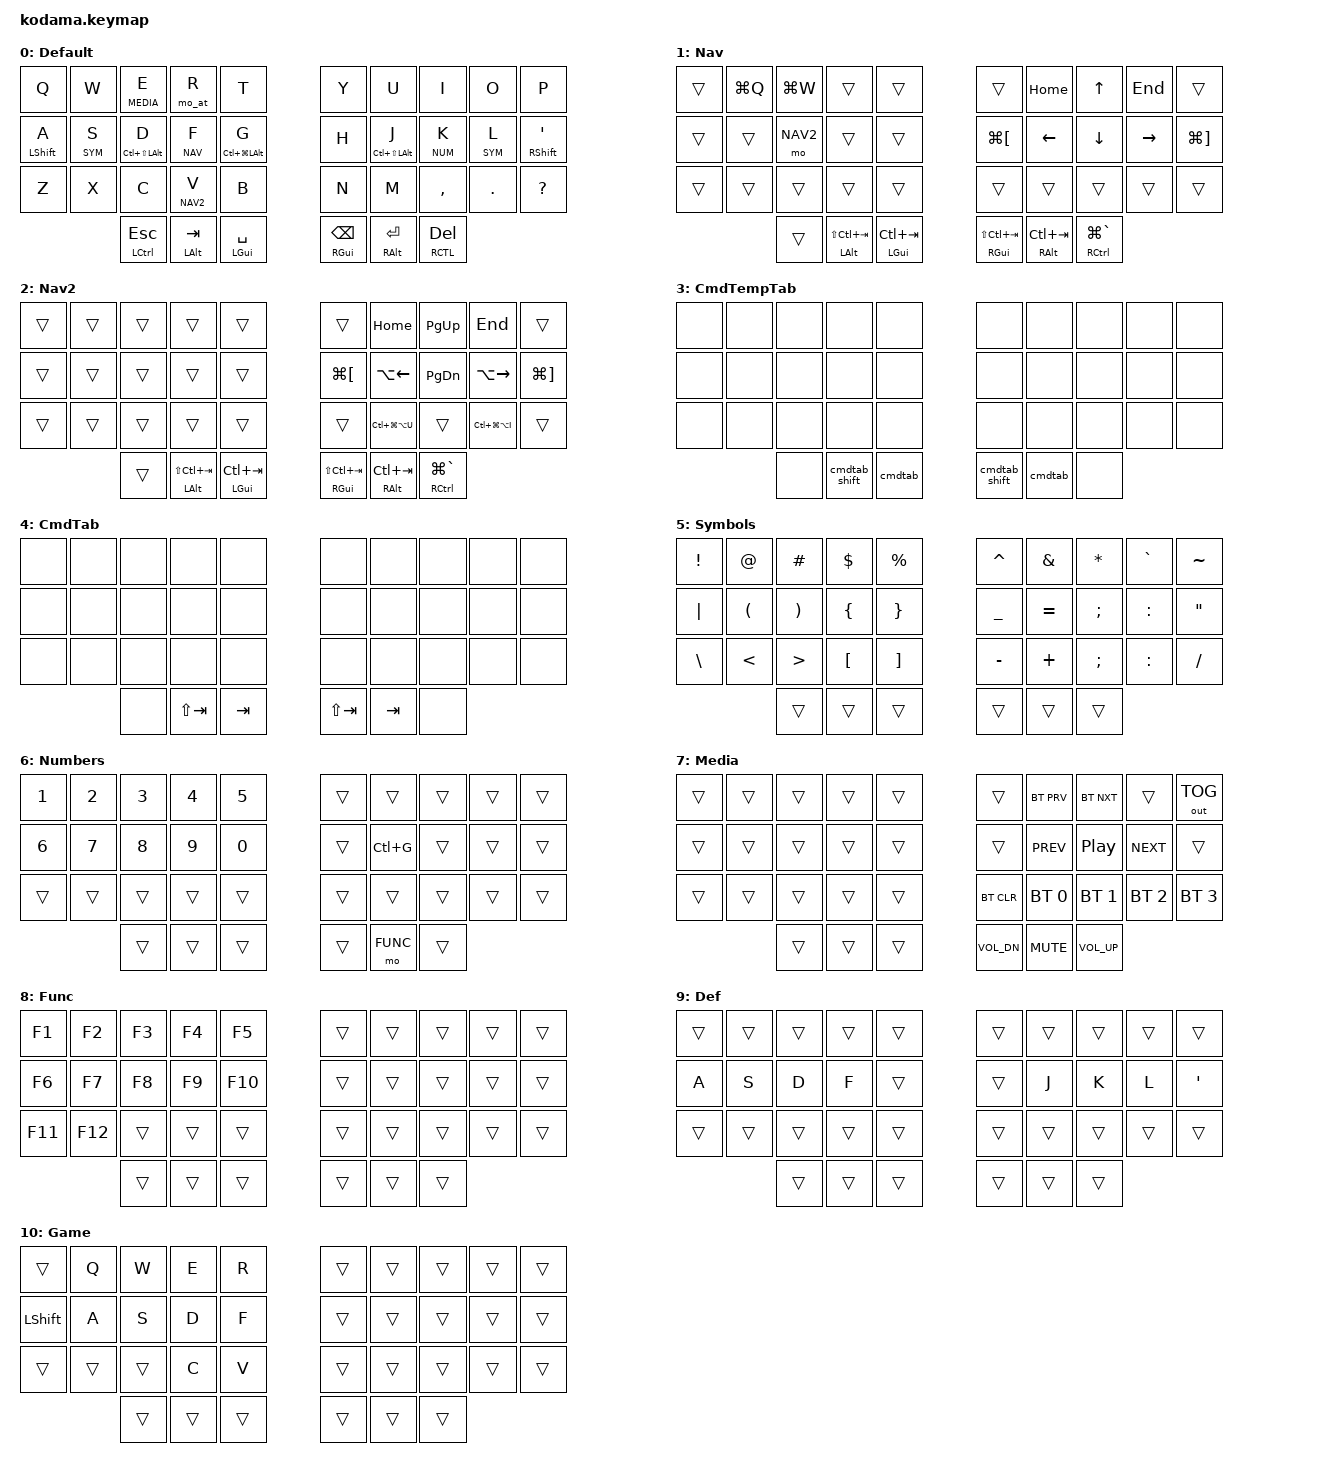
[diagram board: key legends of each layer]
#include <behaviors.dtsi>
#include <dt-bindings/zmk/keys.h>
#include <dt-bindings/zmk/bt.h>
#include <dt-bindings/zmk/outputs.h>

#define DEFAULT    0
#define NAV        1
#define NAV2       2
#define CMDTEMPTAB 3
#define CMDTAB     4
#define SYM        5
#define NUM        6
#define MEDIA      7
#define FUNC       8
#define DEF        9
#define GAME       10

&caps_word {
  continue-list = <UNDERSCORE MINUS>;
};

/ {
  combos {
    compatible = "zmk,combos";
    combo_undo {
      timeout-ms = <50>;
      key-positions = <20 21>;
      bindings = <&kp LG(Z)>;
    };
		combo_copy {
      timeout-ms = <50>;
      key-positions = <21 22>;
      bindings = <&kp LG(C)>;
    };
		combo_cut {
      timeout-ms = <50>;
      key-positions = <22 23>;
      bindings = <&kp LA(LG(V))>;
    };
		combo_paste {
      timeout-ms = <50>;
      key-positions = <23 24>;
      bindings = <&kp LG(V)>;
    };
		combo_def {
      timeout-ms = <50>;
      key-positions = <25 29>;
      bindings = <&tog DEF>;
    };
		combo_game {
      timeout-ms = <50>;
      key-positions = <27 28>;
      bindings = <&tog GAME>;
    };
  };
};

/ {

	behaviors {
		hm: homerow_mods {
			compatible = "zmk,behavior-hold-tap";
			label = "HOMEROW_MODS";
			#binding-cells = <2>;
			tapping-term-ms = <200>;
			quick_tap_ms = <0>;
			flavor = "balanced";
			bindings = <&kp>, <&kp>;
		};
		hs: homerow_shift {
			compatible = "zmk,behavior-hold-tap";
			label = "HOMEROW_SHIFT";
			#binding-cells = <2>;
			tapping-term-ms = <175>;
			quick_tap_ms = <0>;
			flavor = "balanced";
			bindings = <&kp>, <&kp>;
		};

		// macro to activate layer 1, then release alt and move to layer 0 on key release
    mo_at: momentary_release_alt {
			compatible = "zmk,behavior-macro";
			label = "momentary_release_alt";
			#binding-cells = <0>;
			wait-ms = <0>;
			tap-ms = <0>;
			bindings = <&macro_press &mo CMDTEMPTAB>
								, <&macro_pause_for_release>
								, <&macro_release &kp LGUI>
								, <&macro_tap &to DEFAULT>;
    };

    // use below with a dummy value for first parameter: &lta 0 RET
    lta: layer_tap_release_alttab {
			compatible = "zmk,behavior-hold-tap";
			label = "layer_tap_release_alttab";
			#binding-cells = <2>;
			flavor = "tap-preferred";
			tapping-term-ms = <200>;
			bindings = <&mo_at>, <&kp>;
    };

		cmdtab: cmd_tab_enter {
			label = "cmd_tab_enter";
			compatible = "zmk,behavior-macro";
			#binding-cells = <0>;
			wait-ms = <10>;
			tap-ms = <20>;
			bindings =
					<&macro_press &kp LGUI>,
					<&macro_tap &kp TAB &to CMDTAB>;
		};
		cmdtab_shift: cmd_tab_shift_enter {
			label = "cmd_tab_shift_enter";
			compatible = "zmk,behavior-macro";
			#binding-cells = <0>;
			wait-ms = <10>;
			tap-ms = <20>;
			bindings =
					<&macro_press &kp LGUI>,
					<&macro_tap &kp LS(TAB) &to CMDTAB>;
		};
		cmdtab_x: cmd_tab_leave {
			label = "cmd_tab_leave";
			compatible = "zmk,behavior-macro";
			#binding-cells = <0>;
			wait-ms = <10>;
			tap-ms = <20>;
			bindings =
					<&macro_release &kp LGUI>,
					<&macro_tap &to 0>;
		};
	};

	keymap {
		compatible = "zmk,keymap";
		default_layer {
			label = "Default";

			bindings = <
				&kp Q         &kp W         &lt MEDIA E         &lta 0 R      &kp T        	         &kp Y          &kp U               &kp I         &kp O      &kp P
				&hm LSHIFT A  &lt SYM S     &hm LC(LS(LALT)) D  &lt NAV F     &hm LC(LG(LALT)) G     &kp H          &hm LC(LS(LALT)) J  &lt NUM K     &lt SYM L  &hm RSHIFT SQT
				&kp Z   			&kp X   		  &kp C               &lt NAV2 V    &kp B           		   &kp N          &kp M               &kp COMMA     &kp DOT    &kp QMARK
								                    &hm LCTL ESC        &hm LALT TAB  &hm LGUI SPACE         &hm RGUI BSPC  &hm RALT ENTER      &lt RCTL DEL
			>;
		};

		nav_layer {
				label = "Nav";

				bindings = <
					&trans  &kp LG(Q)  &kp LG(W)  &trans   				 			&trans     		 			 &trans           		 &kp HOME     		 &kp UP              &kp END    &trans
					&trans  &trans     &mo NAV2   &trans   				 			&trans     		 			 &kp LG(LBKT)     		 &kp LEFT     		 &kp DOWN            &kp RIGHT  &kp LG(RBKT)
					&trans  &trans     &trans     &trans   				 			&trans     		 			 &trans           		 &trans       		 &trans              &trans     &trans
														 &trans     &hm LALT LS(LC(TAB))  &hm LGUI LC(TAB)     &hm RGUI LS(LC(TAB))  &hm RALT LC(TAB)  &hm RCTL LG(GRAVE)
				>;
		};

		nav2_layer {
			label = "Nav2";

			bindings = <
				&trans  &trans    &trans  &trans  				 			&trans     		 			 &trans           		 &kp HOME           &kp PG_UP           &kp END            &trans
				&trans  &trans    &trans  &trans  				 			&trans     		 			 &kp LG(LBKT)     		 &kp LA(LEFT)       &kp PG_DN           &kp LA(RIGHT)      &kp LG(RBKT)
				&trans  &trans    &trans  &trans  				 			&trans     		 			 &trans           		 &kp LC(LG(LA(U)))  &trans              &kp LC(LG(LA(I)))  &trans
													&trans  &hm LALT LS(LC(TAB))  &hm LGUI LC(TAB)     &hm RGUI LS(LC(TAB))  &hm RALT LC(TAB)   &hm RCTL LG(GRAVE)
			>;
		};

		cmdtemptab_layer {
			label = "CmdTempTab";

			bindings = <
				&none  &none  &none  &none  				&none        &none          &none    &none  &none  &none
				&none  &none  &none  &none  				&none        &none          &none    &none  &none  &none
				&none  &none  &none  &none  				&none        &none          &none    &none  &none  &none
							 	 			&none  &cmdtab_shift  &cmdtab      &cmdtab_shift  &cmdtab  &none
			>;
		};

		cmdtab_layer {
			label = "CmdTab";

			bindings = <
				&none  &none  &none  &none  			&none        &none        &none    &none  &none  &none
				&none  &none  &none  &none  			&none        &none        &none    &none  &none  &none
				&none  &none  &none  &none  			&none        &none        &none    &none  &none  &none
							 	 			&none  &kp LS(TAB)  &kp TAB      &kp LS(TAB)  &kp TAB  &none
			>;
		};

		sym_layer {
			label = "Symbols";

			bindings = <
				&kp EXCL  &kp AT    &kp HASH  &kp DLLR  &kp PRCNT     &kp CARET  &kp AMPS  &kp ASTRK  &kp GRAVE  &kp TILDE
				&kp PIPE  &kp LPAR  &kp RPAR  &kp LBRC  &kp RBRC      &kp UNDER  &kp EQUAL &kp SEMI   &kp COLON  &kp DQT
				&kp BSLH  &kp LT    &kp GT    &kp LBKT  &kp RBKT      &kp MINUS  &kp PLUS  &kp SEMI   &kp COLON  &kp FSLH
														 &trans    &trans    &trans        &trans     &trans    &trans
			>;
		};
			
		num_layer {
			label = "Numbers";

			bindings = <
				&kp N1  &kp N2  &kp N3  &kp N4  &kp N5     &trans  &trans     &trans  &trans  &trans
				&kp N6  &kp N7  &kp N8  &kp N9  &kp N0     &trans  &kp LC(G)  &trans  &trans  &trans
				&trans  &trans  &trans  &trans  &trans     &trans  &trans     &trans  &trans  &trans
												&trans  &trans  &trans     &trans  &mo FUNC   &trans
			>;
		};

		media_layer {
			label = "Media";

			bindings = <
				&trans  &trans  &trans  &trans  &trans     &trans        &bt BT_PRV    &bt BT_NXT        &trans        &out OUT_TOG
				&trans  &trans  &trans  &trans  &trans     &trans        &kp C_PREV    &kp C_PLAY_PAUSE  &kp C_NEXT    &trans
				&trans  &trans  &trans  &trans  &trans     &bt BT_CLR    &bt BT_SEL 0  &bt BT_SEL 1      &bt BT_SEL 2  &bt BT_SEL 3
												&trans  &trans  &trans     &kp C_VOL_DN  &kp C_MUTE    &kp C_VOL_UP
			>;
		};

		func_layer {
			label = "Func";

			bindings = <
				&kp F1   &kp F2   &kp F3  &kp F4  &kp F5     &trans  &trans  &trans  &trans  &trans
				&kp F6   &kp F7   &kp F8  &kp F9  &kp F10    &trans  &trans  &trans  &trans  &trans
				&kp F11  &kp F12  &trans  &trans  &trans     &trans  &trans  &trans  &trans  &trans
													&trans  &trans  &trans     &trans  &trans  &trans
				>;
		};

		def_layer {
			label = "Def";

			bindings = <
				&trans  &trans  &trans  &trans  &trans     &trans  &trans  &trans  &trans  &trans
				&kp A   &kp S   &kp D   &kp F   &trans     &trans  &kp J   &kp K   &kp L   &kp SQT
				&trans  &trans  &trans  &trans  &trans     &trans  &trans  &trans  &trans  &trans
							 	 			  &trans  &trans  &trans     &trans  &trans  &trans
			>;
		};

		game_layer {
			label = "Game";

			bindings = <
				&trans      &kp Q   &kp W   &kp E   &kp R      &trans  &trans  &trans  &trans  &trans
				&kp LSHIFT  &kp A   &kp S   &kp D   &kp F      &trans  &trans  &trans  &trans  &trans
				&trans      &trans  &trans  &kp C   &kp V      &trans  &trans  &trans  &trans  &trans
								            &trans  &trans  &trans     &trans  &trans  &trans
			>;
		};
	};
};
